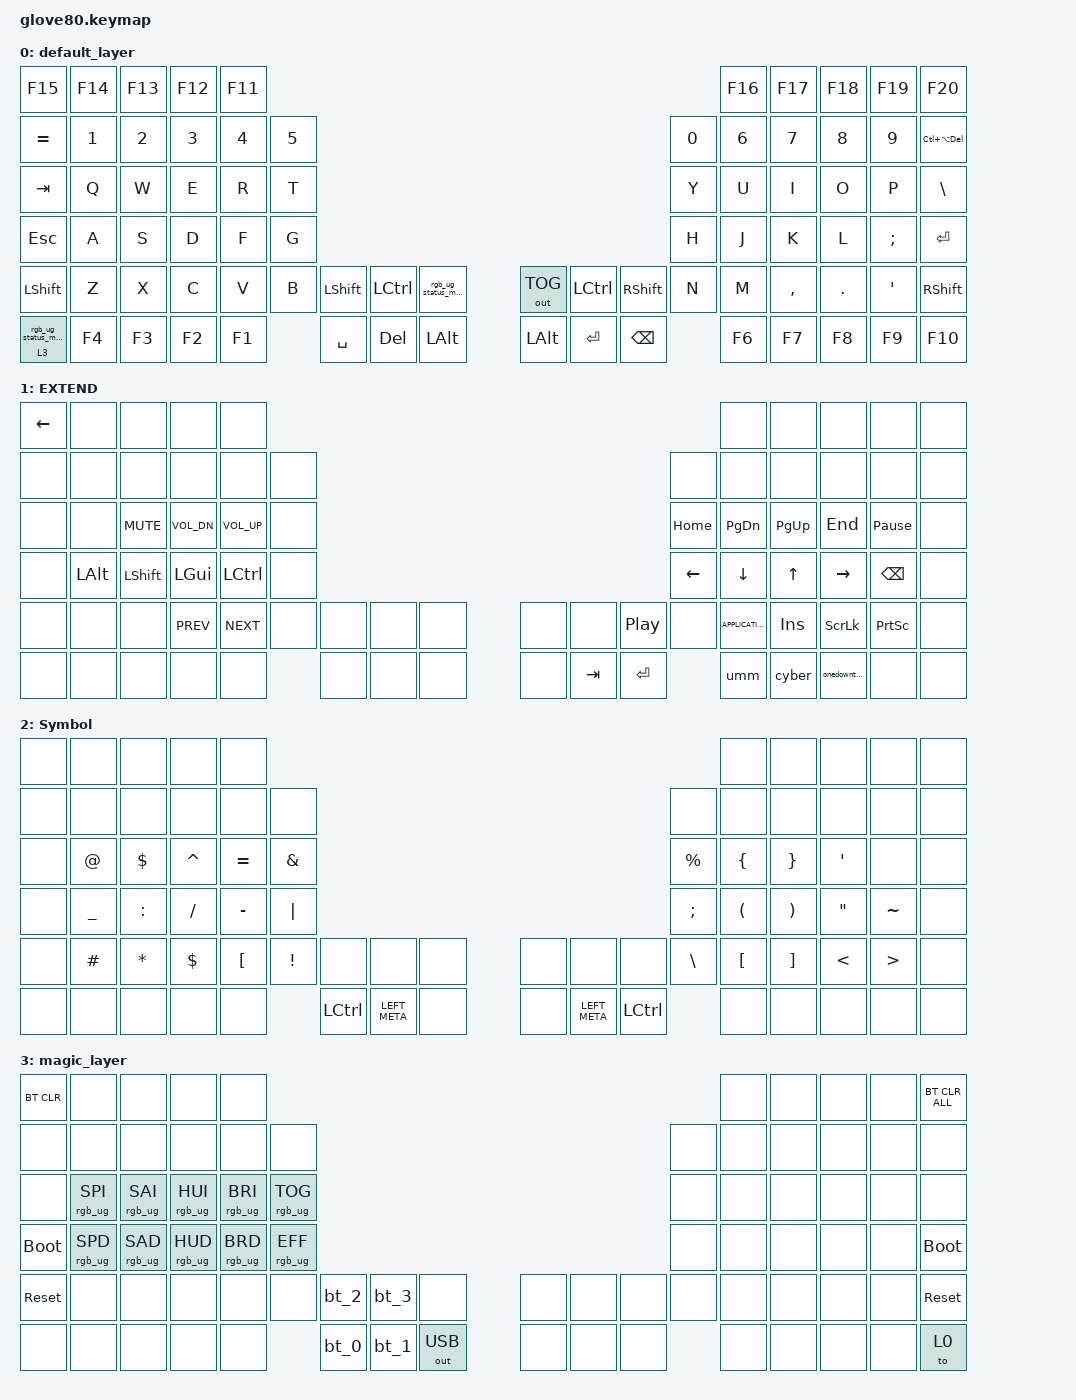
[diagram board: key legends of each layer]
/*
 * Copyright (c) 2020 The ZMK Contributors
 *
 * SPDX-License-Identifier: MIT
 */

#include <behaviors.dtsi>
#include <dt-bindings/zmk/bt.h>
#include <dt-bindings/zmk/keys.h>
#include <dt-bindings/zmk/outputs.h>
#include <dt-bindings/zmk/rgb.h>

#define HYPER LC(LS(LG(LALT)))

// layers

#define DEFAULT 0
#define LOWER 1
#define MAGIC 2
#define FACTORY_TEST 3

/ {
    behaviors {
        // For the "layer" key, it'd nice to be able to use it as either a shift or a toggle.
        // Configure it as a tap dance, so the first tap (or hold) is a &mo and the second tap is a &to

        layer_td: tap_dance_0 {
            compatible = "zmk,behavior-tap-dance";
            label = "LAYER_TAP_DANCE";
            #binding-cells = <0>;
            tapping-term-ms = <200>;
            bindings = <&mo 0>, <&to 0>;
        };

        magic: magic_hold_tap {
            compatible = "zmk,behavior-hold-tap";
            label = "MAGIC_HOLD_TAP";
            #binding-cells = <2>;
            flavor = "tap-preferred";
            tapping-term-ms = <200>;
            bindings = <&mo>, <&rgb_ug_status_macro>;
        };

        HML: HML {
            compatible = "zmk,behavior-hold-tap";
            label = "HML";
            bindings = <&kp>, <&kp>;

            #binding-cells = <2>;
            tapping-term-ms = <280>;
            quick-tap-ms = <175>;
            require-prior-idle-ms = <175>;
            flavor = "balanced";
            hold-trigger-on-release;
            hold-trigger-key-positions = <9 5 6 7 8 9 16 17 18 19 20 21 28 29 30 31 32 33 40 41 42 43 44 45 55 56 57 58 59 60 61 62 63 72 73 74 75 76 77 78 79>;
        };

        HMR: HMR {
            compatible = "zmk,behavior-hold-tap";
            label = "HMR";
            bindings = <&kp>, <&kp>;

            #binding-cells = <2>;
            tapping-term-ms = <280>;
            quick-tap-ms = <175>;
            require-prior-idle-ms = <175>;
            flavor = "balanced";
            hold-trigger-key-positions = <0 1 10 11 12 13 14 15 22 23 24 25 26 27 34 35 36 37 38 39 46 47 48 49 50 51 52 53 54 64 65 66 67 68 69 70 71 2 3 4>;
            hold-trigger-on-release;
        };

        EXCLM: EXCLM {
            compatible = "zmk,behavior-mod-morph";
            label = "EXCLM";
            bindings = <&kp EXCL>, <&kp QUESTION>;

            #binding-cells = <0>;
            mods = <(MOD_LSFT)>;
        };

        bspc: bspc {
            compatible = "zmk,behavior-hold-tap";
            label = "BSPC";
            bindings = <&mo>, <&kp>;

            #binding-cells = <2>;
            tapping-term-ms = <280>;
            quick-tap-ms = <175>;
            require-prior-idle-ms = <175>;
            flavor = "balanced";
        };
    };

    macros {
        rgb_ug_status_macro: rgb_ug_status_macro_0 {
            label = "RGB_UG_STATUS";
            compatible = "zmk,behavior-macro";
            #binding-cells = <0>;
            bindings = <&rgb_ug RGB_STATUS>;
        };

        bt_0: bt_profile_macro_0 {
            label = "BT_0";
            compatible = "zmk,behavior-macro";
            #binding-cells = <0>;
            bindings = <&out OUT_BLE &bt BT_SEL 0>;
        };

        bt_1: bt_profile_macro_1 {
            label = "BT_1";
            compatible = "zmk,behavior-macro";
            #binding-cells = <0>;
            bindings = <&out OUT_BLE &bt BT_SEL 1>;
        };

        bt_2: bt_profile_macro_2 {
            label = "BT_2";
            compatible = "zmk,behavior-macro";
            #binding-cells = <0>;
            bindings = <&out OUT_BLE &bt BT_SEL 2>;
        };

        bt_3: bt_profile_macro_3 {
            label = "BT_3";
            compatible = "zmk,behavior-macro";
            #binding-cells = <0>;
            bindings = <&out OUT_BLE &bt BT_SEL 3>;
        };

        onedowntwodown: onedowntwodown {
            compatible = "zmk,behavior-macro";
            #binding-cells = <0>;
            bindings = <&none &kp N1 &kp Q &kp A &kp Z &kp N2 &kp W &kp S &kp X &kp EXCL &kp LS(Q) &kp LS(A) &kp LS(Z) &kp AT &kp LS(W) &kp LS(S) &kp LS(X)>;
            label = "ONEDOWNTWODOWN";
        };

        cyber: cyber {
            compatible = "zmk,behavior-macro";
            #binding-cells = <0>;
            bindings = <&kp LS(C) &kp Y &kp B &kp E &kp R &kp LS(W) &kp A &kp R &kp R &kp I &kp O &kp R &kp S &kp N1 &kp N2 &kp N3 &kp EXCL &kp AT &kp POUND>;
            label = "CYBER";
        };

        umm: umm {
            compatible = "zmk,behavior-macro";
            #binding-cells = <0>;
            bindings = <&kp N1 &kp Q &kp A &kp Z &kp N2 &kp W &kp R &kp X &kp EXCL &kp LS(Q) &kp LS(A) &kp LS(Z) &kp AT &kp LS(W) &kp LS(R) &kp LS(X)>;
            label = "UMM";
        };
    };

    combos {
        compatible = "zmk,combos";

        escape {
            bindings = <&kp ESCAPE>;
            key-positions = <42 41>;
            require-prior-idle-ms = <175>;
            layers = <0>;
        };
    };

    keymap {
        compatible = "zmk,keymap";

        default_layer {
            // ---------------------------------------------------------------------------------------------------------------------------------
            // |  F1   |  F2 |  F3 |  F4  |  F5  |                                                               |  F6   |  F7   |  F8  |   F9  |  F10 |
            // |  =    |  1  |  2  |  3   |  4   |  5   |                                                 |  6   |   7   |   8   |  9   |   0   |   -  |
            // |  TAB  |  Q  |  W  |  E   |  R   |  T   |                                                 |  Y   |   U   |   I   |  O   |   P   |   \  |
            // |  ESC  |  A  |  S  |  D   |  F   |  G   |                                                 |  H   |   J   |   K   |  L   |   ;   |   '  |
            // |   `   |  Z  |  X  |  C   |  V   |  B   | LSHFT | LCTRL | LOWER | | LGUI  | RCTRL | RSHFT |  N   |   M   |   ,   |  .   |   /   | PGUP |
            // | MAGIC | HOME| END | LEFT | RIGHT|      | BSPC  | DEL   | LALT  | | RALT  | RET   | SPACE |      |  UP   | DOWN  |  [   |   ]   | PGDN |

            bindings = <
&kp F15     &kp F14  &kp F13  &kp F12  &kp F11                                                                                                            &kp F16  &kp F17    &kp F18  &kp F19           &kp F20
&kp EQUAL   &kp N1   &kp N2   &kp N3   &kp N4   &kp N5                                                                                            &kp N0  &kp N6   &kp N7     &kp N8   &kp N9            &kp LC(LA(DELETE))
&kp TAB     &kp Q    &kp W    &kp E    &kp R    &kp T                                                                                             &kp Y   &kp U    &kp I      &kp O    &kp P             &kp BSLH
&kp ESC     &kp A    &kp S    &kp D    &kp F    &kp G                                                                                             &kp H   &kp J    &kp K      &kp L    &kp SEMI          &kp ENTER
&kp LSHFT   &kp Z    &kp X    &kp C    &kp V    &kp B   &kp LEFT_SHIFT  &kp LCTRL   &rgb_ug_status_macro  &out OUT_TOG  &kp LCTRL  &kp RSHFT      &kp N   &kp M    &kp COMMA  &kp DOT  &kp SINGLE_QUOTE  &kp RSHFT
&magic 3 0  &kp F4   &kp F3   &kp F2   &kp F1           &kp SPACE       &kp DELETE  &kp LALT              &kp LALT      &kp ENTER  &kp BACKSPACE          &kp F6   &kp F7     &kp F8   &kp F9            &kp F10
            >;
        };

        EXTEND {
            bindings = <
&kp LEFT  &none     &none       &none         &none                                                                                    &none              &none      &none            &none            &none
&none     &none     &none       &none         &none            &none                                                         &none     &none              &none      &none            &none            &none
&none     &none     &kp K_MUTE  &kp C_VOL_DN  &kp C_VOLUME_UP  &none                                                         &kp HOME  &kp PG_DN          &kp PG_UP  &kp END          &kp PAUSE_BREAK  &none
&none     &kp LALT  &kp LSHFT   &kp LGUI      &kp LCTRL        &none                                                         &kp LEFT  &kp DOWN           &kp UP     &kp RIGHT        &kp BACKSPACE    &none
&none     &none     &none       &kp C_PREV    &kp C_NEXT       &none  &none  &none  &none  &none  &none    &kp C_PLAY_PAUSE  &none     &kp K_APPLICATION  &kp INS    &kp SCROLLLOCK   &kp PRINTSCREEN  &none
&none     &none     &none       &none         &none                   &none  &none  &none  &none  &kp TAB  &kp ENTER                   &umm               &cyber     &onedowntwodown  &none            &none
            >;
        };

        Symbol {
            bindings = <
&none  &none           &none         &none       &none                                                                                                               &none                 &none                  &none              &none             &none
&none  &none           &none         &none       &none             &none                                                                              &none          &none                 &none                  &none              &none             &none
&none  &kp AT_SIGN     &kp DOLLAR    &kp CARET   &kp EQUAL         &kp AMPERSAND                                                                      &kp PERCENT    &kp LEFT_BRACE        &kp RIGHT_BRACE        &kp SQT            &none             &none
&none  &kp UNDERSCORE  &kp COLON     &kp SLASH   &kp MINUS         &kp PIPE                                                                           &kp SEMICOLON  &kp LEFT_PARENTHESIS  &kp RIGHT_PARENTHESIS  &kp DOUBLE_QUOTES  &kp TILDE         &none
&none  &kp HASH        &kp ASTERISK  &kp DOLLAR  &kp LEFT_BRACKET  &kp EXCLAMATION  &none      &none          &none  &none  &none          &none      &kp BACKSLASH  &kp LEFT_BRACKET      &kp RIGHT_BRACKET      &kp LESS_THAN      &kp GREATER_THAN  &none
&none  &none           &none         &none       &none                              &kp LCTRL  &kp LEFT_META  &none  &none  &kp LEFT_META  &kp LCTRL                 &none                 &none                  &none              &none             &none
            >;
        };

        magic_layer {
            bindings = <
&bt BT_CLR   &none            &none            &none            &none                                                                                     &none  &none  &none  &none  &bt BT_CLR_ALL
&none        &none            &none            &none            &none            &none                                                             &none  &none  &none  &none  &none  &none
&none        &rgb_ug RGB_SPI  &rgb_ug RGB_SAI  &rgb_ug RGB_HUI  &rgb_ug RGB_BRI  &rgb_ug RGB_TOG                                                   &none  &none  &none  &none  &none  &none
&bootloader  &rgb_ug RGB_SPD  &rgb_ug RGB_SAD  &rgb_ug RGB_HUD  &rgb_ug RGB_BRD  &rgb_ug RGB_EFF                                                   &none  &none  &none  &none  &none  &bootloader
&sys_reset   &none            &none            &none            &none            &none            &bt_2  &bt_3  &none         &none  &none  &none  &none  &none  &none  &none  &none  &sys_reset
&none        &none            &none            &none            &none                             &bt_0  &bt_1  &out OUT_USB  &none  &none  &none         &none  &none  &none  &none  &to 0
            >;
        };
    };
};
